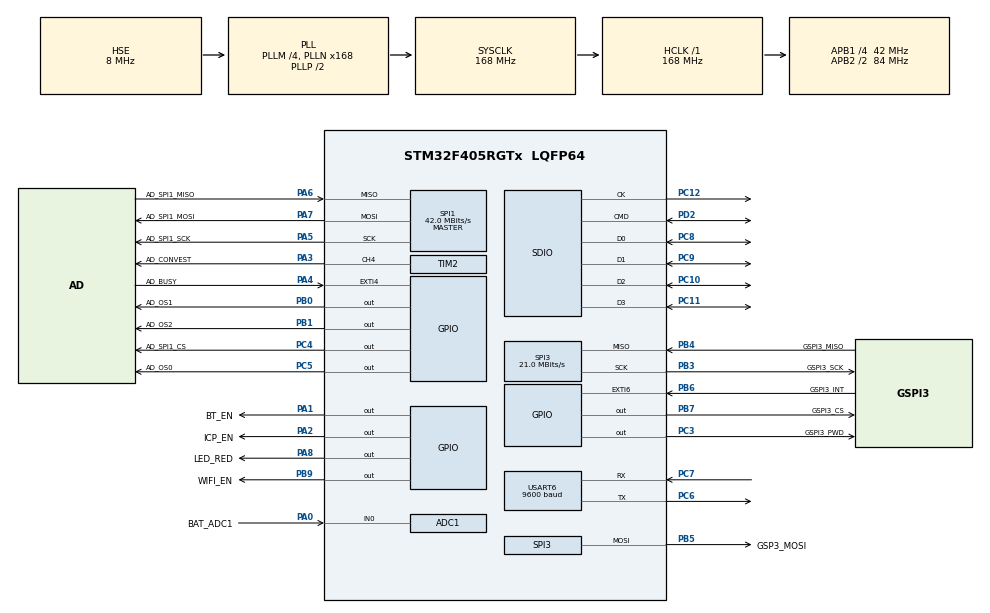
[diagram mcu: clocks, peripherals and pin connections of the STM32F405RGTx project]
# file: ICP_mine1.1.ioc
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ADC1.Channel-0\#ChannelRegularConversion=ADC_CHANNEL_0
ADC1.NbrOfConversionFlag=1
ADC1.Rank-0\#ChannelRegularConversion=1
ADC1.SamplingTime-0\#ChannelRegularConversion=ADC_SAMPLETIME_3CYCLES
ADC1.master=1
Dma.Request0=SPI1_RX
Dma.Request1=SPI1_TX
Dma.SPI1_RX.0.Direction=DMA_PERIPH_TO_MEMORY
Dma.SPI1_RX.0.FIFOMode=DMA_FIFOMODE_DISABLE
Dma.SPI1_RX.0.Instance=DMA2_Stream0
Dma.SPI1_RX.0.MemDataAlignment=DMA_MDATAALIGN_BYTE
Dma.SPI1_RX.0.MemInc=DMA_MINC_ENABLE
Dma.SPI1_RX.0.Mode=DMA_CIRCULAR
Dma.SPI1_RX.0.PeriphDataAlignment=DMA_PDATAALIGN_BYTE
Dma.SPI1_RX.0.PeriphInc=DMA_PINC_DISABLE
Dma.SPI1_RX.0.Priority=DMA_PRIORITY_HIGH
Dma.SPI1_TX.1.Direction=DMA_MEMORY_TO_PERIPH
Dma.SPI1_TX.1.FIFOMode=DMA_FIFOMODE_DISABLE
Dma.SPI1_TX.1.Instance=DMA2_Stream3
Dma.SPI1_TX.1.MemDataAlignment=DMA_MDATAALIGN_BYTE
Dma.SPI1_TX.1.MemInc=DMA_MINC_ENABLE
Dma.SPI1_TX.1.Mode=DMA_NORMAL
Dma.SPI1_TX.1.PeriphDataAlignment=DMA_PDATAALIGN_BYTE
Dma.SPI1_TX.1.PeriphInc=DMA_PINC_DISABLE
Dma.SPI1_TX.1.Priority=DMA_PRIORITY_HIGH
FATFS._CODE_PAGE=936
FATFS._USE_LFN=2
Mcu.Family=STM32F4
Mcu.Name=STM32F405RGTx
Mcu.Package=LQFP64
NVIC.DMA2_Stream0_IRQn=true\:0\:0\:false\:false\:true\:true
NVIC.DMA2_Stream3_IRQn=true\:0\:0\:false\:false\:true\:true
NVIC.EXTI4_IRQn=true\:2\:0\:true\:false\:true\:true
NVIC.EXTI9_5_IRQn=true\:0\:0\:false\:false\:true\:true
NVIC.PriorityGroup=NVIC_PRIORITYGROUP_4
NVIC.TIM8_TRG_COM_TIM14_IRQn=true\:0\:0\:false\:false\:true\:true
NVIC.TimeBase=TIM8_TRG_COM_TIM14_IRQn
NVIC.TimeBaseIP=TIM14
NVIC.USART6_IRQn=true\:1\:0\:true\:false\:true\:true
PA0-WKUP.GPIO_Label=BAT_ADC1
PA0-WKUP.Signal=ADCx_IN0
PA1.GPIO_Label=BT_EN
PA1.GPIO_PuPd=GPIO_PULLDOWN
PA1.GPIO_Speed=GPIO_SPEED_FREQ_HIGH
PA1.Signal=GPIO_Output
PA13.Mode=Serial_Wire
PA13.Signal=SYS_JTMS-SWDIO
PA14.Mode=Serial_Wire
PA14.Signal=SYS_JTCK-SWCLK
PA2.GPIO_Label=ICP_EN
PA2.GPIO_PuPd=GPIO_PULLDOWN
PA2.GPIO_Speed=GPIO_SPEED_FREQ_HIGH
PA2.Signal=GPIO_Output
PA3.GPIO_Label=AD_CONVEST
PA3.Signal=S_TIM2_CH4
PA4.GPIO_Label=AD_BUSY
PA4.Signal=GPXTI4
PA5.GPIO_Label=AD_SPI1_SCK
PA5.GPIO_PuPd=GPIO_NOPULL
PA5.Mode=Full_Duplex_Master
PA5.Signal=SPI1_SCK
PA6.GPIO_Label=AD_SPI1_MISO
PA6.GPIO_PuPd=GPIO_NOPULL
PA6.Mode=Full_Duplex_Master
PA6.Signal=SPI1_MISO
PA7.GPIO_Label=AD_SPI1_MOSI
PA7.GPIO_PuPd=GPIO_NOPULL
PA7.Mode=Full_Duplex_Master
PA7.Signal=SPI1_MOSI
PA8.GPIO_Label=LED_RED
PA8.GPIO_PuPd=GPIO_PULLUP
PA8.GPIO_Speed=GPIO_SPEED_FREQ_HIGH
PA8.Signal=GPIO_Output
PB0.GPIO_Label=AD_OS1
PB0.GPIO_PuPd=GPIO_PULLDOWN
PB0.GPIO_Speed=GPIO_SPEED_FREQ_HIGH
PB0.Signal=GPIO_Output
PB1.GPIO_Label=AD_OS2
PB1.GPIO_PuPd=GPIO_PULLDOWN
PB1.GPIO_Speed=GPIO_SPEED_FREQ_HIGH
PB1.Signal=GPIO_Output
PB3.GPIO_Label=GSPI3_SCK
PB3.GPIO_PuPd=GPIO_PULLUP
PB3.Mode=Full_Duplex_Master
PB3.Signal=SPI3_SCK
PB4.GPIO_Label=GSPI3_MISO
PB4.GPIO_PuPd=GPIO_PULLUP
PB4.Mode=Full_Duplex_Master
PB4.Signal=SPI3_MISO
PB5.GPIO_Label=GSP3_MOSI
PB5.GPIO_PuPd=GPIO_PULLUP
PB5.Mode=Full_Duplex_Master
PB5.Signal=SPI3_MOSI
PB6.GPIO_Label=GSPI3_INT
PB6.Signal=GPXTI6
PB7.GPIO_Label=GSPI3_CS
PB7.GPIO_PuPd=GPIO_PULLUP
PB7.GPIO_Speed=GPIO_SPEED_FREQ_HIGH
PB7.Signal=GPIO_Output
PB9.GPIO_Label=WIFI_EN
PB9.GPIO_PuPd=GPIO_PULLDOWN
PB9.GPIO_Speed=GPIO_SPEED_FREQ_HIGH
PB9.Signal=GPIO_Output
PC10.Mode=SD_4_bits_Wide_bus
PC10.Signal=SDIO_D2
PC11.Mode=SD_4_bits_Wide_bus
PC11.Signal=SDIO_D3
PC12.Mode=SD_4_bits_Wide_bus
PC12.Signal=SDIO_CK
PC14-OSC32_IN.Mode=LSE-External-Oscillator
PC14-OSC32_IN.Signal=RCC_OSC32_IN
PC15-OSC32_OUT.Mode=LSE-External-Oscillator
PC15-OSC32_OUT.Signal=RCC_OSC32_OUT
PC3.GPIO_Label=GSPI3_PWD
PC3.GPIO_PuPd=GPIO_PULLUP
PC3.GPIO_Speed=GPIO_SPEED_FREQ_HIGH
PC3.Signal=GPIO_Output
PC4.GPIO_Label=AD_SPI1_CS
PC4.GPIO_PuPd=GPIO_PULLUP
PC4.GPIO_Speed=GPIO_SPEED_FREQ_HIGH
PC4.Signal=GPIO_Output
PC5.GPIO_Label=AD_OS0
PC5.GPIO_PuPd=GPIO_PULLDOWN
PC5.GPIO_Speed=GPIO_SPEED_FREQ_HIGH
PC5.Signal=GPIO_Output
PC6.Mode=Asynchronous
PC6.Signal=USART6_TX
PC7.Mode=Asynchronous
PC7.Signal=USART6_RX
PC8.Mode=SD_4_bits_Wide_bus
PC8.Signal=SDIO_D0
PC9.Mode=SD_4_bits_Wide_bus
PC9.Signal=SDIO_D1
PD2.Mode=SD_4_bits_Wide_bus
PD2.Signal=SDIO_CMD
PH0-OSC_IN.Mode=HSE-External-Oscillator
PH0-OSC_IN.Signal=RCC_OSC_IN
PH1-OSC_OUT.Mode=HSE-External-Oscillator
PH1-OSC_OUT.Signal=RCC_OSC_OUT
ProjectManager.HeapSize=0x200
ProjectManager.StackSize=0x1000
ProjectManager.TargetToolchain=MDK-ARM V5
RCC.48MHZClocksFreq_Value=48000000
RCC.AHBFreq_Value=168000000
RCC.APB1CLKDivider=RCC_HCLK_DIV4
RCC.APB1Freq_Value=42000000
RCC.APB1TimFreq_Value=84000000
RCC.APB2CLKDivider=RCC_HCLK_DIV2
RCC.APB2Freq_Value=84000000
RCC.APB2TimFreq_Value=168000000
RCC.CortexFreq_Value=168000000
RCC.HCLKFreq_Value=168000000
RCC.HSE_VALUE=8000000
RCC.HSI_VALUE=16000000
RCC.PLLM=4
RCC.PLLN=168
RCC.PLLQ=7
RCC.PLLSourceVirtual=RCC_PLLSOURCE_HSE
RCC.SYSCLKFreq_VALUE=168000000
RCC.SYSCLKSource=RCC_SYSCLKSOURCE_PLLCLK
RCC.VCOOutputFreq_Value=336000000
RTC.Alarm=RTC_ALARM_A
SH.ADCx_IN0.0=ADC1_IN0,IN0
SH.S_TIM2_CH4.0=TIM2_CH4,PWM Generation4 CH4
SPI1.CLKPhase=SPI_PHASE_2EDGE
SPI1.CLKPolarity=SPI_POLARITY_HIGH
SPI1.CalculateBaudRate=42.0 MBits/s
SPI1.Direction=SPI_DIRECTION_2LINES
SPI1.Mode=SPI_MODE_MASTER
SPI1.VirtualType=VM_MASTER
SPI3.BaudRatePrescaler=SPI_BAUDRATEPRESCALER_2
SPI3.CLKPhase=SPI_PHASE_2EDGE
SPI3.CLKPolarity=SPI_POLARITY_HIGH
SPI3.CalculateBaudRate=21.0 MBits/s
SPI3.Direction=SPI_DIRECTION_2LINES
SPI3.Mode=SPI_MODE_MASTER
SPI3.VirtualType=VM_MASTER
TIM2.Channel-PWM\ Generation4\ CH4=TIM_CHANNEL_4
TIM2.Period=1200
TIM2.Prescaler=70-1
TIM2.Pulse-PWM\ Generation4\ CH4=600
USART6.BaudRate=9600
USART6.VirtualMode=VM_ASYNC
VP_FATFS_VS_SDIO.Mode=SDIO
VP_RTC_VS_RTC_Activate.Mode=RTC_Enabled
VP_RTC_VS_RTC_Alarm_A_Intern.Mode=Alarm A
VP_RTC_VS_RTC_Calendar.Mode=RTC_Calendar
VP_SYS_VS_tim14.Mode=TIM14
board=ICP_mine1.1

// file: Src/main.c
/**
  ******************************************************************************
  * File Name          : main.c
  * Description        : Main program body
  ******************************************************************************
  * This notice applies to any and all portions of this file
  * that are not between comment pairs USER CODE BEGIN and
  * USER CODE END. Other portions of this file, whether
  * inserted by the user or by software development tools
  * are owned by their respective copyright owners.
  *
  * Copyright (c) 2017 STMicroelectronics International N.V.
  * All rights reserved.
  *
  * Redistribution and use in source and binary forms, with or without
  * modification, are permitted, provided that the following conditions are met:
  *
  * 1. Redistribution of source code must retain the above copyright notice,
  *    this list of conditions and the following disclaimer.
  * 2. Redistributions in binary form must reproduce the above copyright notice,
  *    this list of conditions and the following disclaimer in the documentation
  *    and/or other materials provided with the distribution.
  * 3. Neither the name of STMicroelectronics nor the names of other
  *    contributors to this software may be used to endorse or promote products
  *    derived from this software without specific written permission.
  * 4. This software, including modifications and/or derivative works of this
  *    software, must execute solely and exclusively on microcontroller or
  *    microprocessor devices manufactured by or for STMicroelectronics.
  * 5. Redistribution and use of this software other than as permitted under
  *    this license is void and will automatically terminate your rights under
  *    this license.
  *
  * THIS SOFTWARE IS PROVIDED BY STMICROELECTRONICS AND CONTRIBUTORS "AS IS"
  * AND ANY EXPRESS, IMPLIED OR STATUTORY WARRANTIES, INCLUDING, BUT NOT
  * LIMITED TO, THE IMPLIED WARRANTIES OF MERCHANTABILITY, FITNESS FOR A
  * PARTICULAR PURPOSE AND NON-INFRINGEMENT OF THIRD PARTY INTELLECTUAL PROPERTY
  * RIGHTS ARE DISCLAIMED TO THE FULLEST EXTENT PERMITTED BY LAW. IN NO EVENT
  * SHALL STMICROELECTRONICS OR CONTRIBUTORS BE LIABLE FOR ANY DIRECT, INDIRECT,
  * INCIDENTAL, SPECIAL, EXEMPLARY, OR CONSEQUENTIAL DAMAGES (INCLUDING, BUT NOT
  * LIMITED TO, PROCUREMENT OF SUBSTITUTE GOODS OR SERVICES; LOSS OF USE, DATA,
  * OR PROFITS; OR BUSINESS INTERRUPTION) HOWEVER CAUSED AND ON ANY THEORY OF
  * LIABILITY, WHETHER IN CONTRACT, STRICT LIABILITY, OR TORT (INCLUDING
  * NEGLIGENCE OR OTHERWISE) ARISING IN ANY WAY OUT OF THE USE OF THIS SOFTWARE,
  * EVEN IF ADVISED OF THE POSSIBILITY OF SUCH DAMAGE.
  *
  ******************************************************************************
  */
#include "main.h"
#include "stm32f4xx_hal.h"
#include "adc.h"
#include "dma.h"
#include "fatfs.h"
#include "rtc.h"
#include "sdio.h"
#include "spi.h"
#include "tim.h"
#include "usart.h"
#include "gpio.h"

/* USER CODE BEGIN Includes */
#include "rw_app.h"
#include "AD7606.h"

//#include "lua.h"
//#include "lauxlib.h"
//#include "lualib.h"
#include "lua_test.h"
#include "mmcfs.h"
#include "xprintf_init.h"
/* USER CODE END Includes */

/* USER CODE BEGIN PV */
/* Private variables ---------------------------------------------------------*/

/* USER CODE END PV */

void SystemClock_Config(void);

/* USER CODE BEGIN PFP */
/* Private function prototypes -----------------------------------------------*/

/* USER CODE END PFP */

/* USER CODE BEGIN 0 */
void fat_error_test(uint8_t ret);

int platform_init(void)
{
  rw_DriverParams_t     params;
  int                   ret =0;
  char                  libVersion[20]="";
  char                  module_mac[6] ="";

  //host_platformInit();
  DPRINTF("Host platform init...success\r\n");

  //rak module driver init
  wifi_init_params(&params);
  ret =rw_sysDriverInit(&params);
  if(ret != RW_OK)
  {
    DPRINTF("RAK module platform init...failed code=%d\r\n", ret);
    while(1){xprintf("ret=%d ",ret);HAL_Delay(1000);/*HAL_GPIO_WritePin(BT_EN_GPIO_Port,BT_EN_Pin,GPIO_PIN_SET);*/};
  }
  rw_getLibVersion(libVersion);
  DPRINTF("rak wifi LibVersion:%s\r\n", libVersion);
  rw_getMacAddr(module_mac);
  DPRINTF("rak wifi module-MAC:%02X:%02X:%02X:%02X:%02X:%02X\r\n", module_mac[0],module_mac[1],module_mac[2],module_mac[3],module_mac[4],module_mac[5]);

  return RW_OK;
}

//  @ fuction:
//  @ description:
//  @ input:
//  @ output:
//  @ note: 测试电池电压
void BAT_ADC_test(void){
	  uint16_t AD_value = 0;
	  float AD_transfer = 0;
	  int value_temp[2];

		HAL_ADC_Start(&hadc1);
		HAL_ADC_PollForConversion(&hadc1,50);//等待转换完成
		if(HAL_IS_BIT_SET(HAL_ADC_GetState(&hadc1),HAL_ADC_STATE_EOC_REG)){
		AD_value = HAL_ADC_GetValue(&hadc1);
	  AD_transfer = AD_value*2*3.3/0xfff;//由于分压，需要乘上2
			//xprintf("%d ADC=%fv \r\n",AD_value,AD_transfer);//xprintf not support %f
			value_temp[0] = (int)AD_transfer;
			value_temp[1] = (int)((AD_transfer-value_temp[0])*100);
			xprintf("%d ADC=%d.%dv \r\n",AD_value,value_temp[0],value_temp[1]);

		}
		if(AD_transfer < 3.2f){
			HAL_GPIO_WritePin(BT_EN_GPIO_Port,BT_EN_Pin,GPIO_PIN_RESET);
			HAL_GPIO_WritePin(WIFI_EN_GPIO_Port,WIFI_EN_Pin,GPIO_PIN_RESET);
		 while(1){
		  HAL_GPIO_TogglePin(LED_RED_GPIO_Port,LED_RED_Pin);
		  HAL_Delay(5000);
			 //xprintf("%d ADC=%fv ",AD_value,AD_transfer);
			 xprintf("%d ADC=%d.%dv \r\n",AD_value,value_temp[0],value_temp[1]);
		 }
		}
}

void fat_test(void){
  FATFS fs;                 // Work area (file system object) for logical drive
	FIL fil;                  // file objects

	uint32_t byteswritten;                /* File write counts */
	uint32_t bytesread;                   /* File read counts */
	uint8_t wtext[] = "This is STM32 working with FatFs"; /* File write buffer */
	uint8_t rtext[100];                     /* File read buffers */
	char filename[] = "STM32cube.txt";
//	char filename[] = "S.txt";

    xprintf("\r\n ****** FatFs Example ******\r\n\r\n");

    /*##-1- Register the file system object to the FatFs module ##############*/
    retSD = f_mount(&fs, "", 0);
    if(retSD)
    {
        xprintf(" mount error : %d \r\n",retSD);
        Error_Handler();
    }
    else
        xprintf(" mount sucess!!! \r\n");

    /*##-2- Create and Open new text file objects with write access ######*/
    retSD = f_open(&fil, filename, FA_CREATE_ALWAYS | FA_WRITE);
    if(retSD)
        //xprintf(" open file error : %d\r\n",retSD);
		fat_error_test(retSD);
    else
        xprintf(" open file sucess!!! \r\n");

    /*##-3- Write data to the text files ###############################*/
    retSD = f_write(&fil, wtext, sizeof(wtext), (void *)&byteswritten);
    if(retSD)
        //xprintf(" write file error : %d\r\n",retSD);
		fat_error_test(retSD);
    else
    {
        xprintf(" write file sucess!!! \r\n");
        xprintf(" write Data : %s\r\n",wtext);
    }

    /*##-4- Close the open text files ################################*/
    retSD = f_close(&fil);
    if(retSD)
        //xprintf(" close error : %d\r\n",retSD);
		fat_error_test(retSD);
    else
        xprintf(" close sucess!!! \r\n");

    /*##-5- Open the text files object with read access ##############*/
    retSD = f_open(&fil, filename, FA_READ);
    if(retSD)
        //xprintf(" open file error : %d\r\n",retSD);
		fat_error_test(retSD);
    else
        xprintf(" open file sucess!!! \r\n");

    /*##-6- Read data from the text files ##########################*/
    retSD = f_read(&fil, rtext, sizeof(rtext), (UINT*)&bytesread);
    if(retSD)
        //xprintf(" read error!!! %d\r\n",retSD);
		fat_error_test(retSD);
    else
    {
        xprintf(" read sucess!!! \r\n");
        xprintf(" read Data : %s\r\n",rtext);
    }

    /*##-7- Close the open text files ############################*/
    retSD = f_close(&fil);
    if(retSD)
        //xprintf(" close error!!! %d\r\n",retSD);
		fat_error_test(retSD);
    else
        xprintf(" close sucess!!! \r\n");

    /*##-8- Compare read data with the expected data ############*/
    if(bytesread == byteswritten)
    {
        xprintf(" FatFs is working well!!!\r\n");
    }
}

void fat_error_test(uint8_t ret){
  switch(ret){
		case FR_OK :
			xprintf("磁盘正常\r\n");
			break;
		case FR_INVALID_DRIVE:
			xprintf("驱动器无效\r\n");
			break;
		case FR_NOT_READY:
			xprintf("磁盘驱动器无法工作\r\n");
			break;
		case FR_DISK_ERR:
			xprintf("底层磁盘IO错误\r\n");
			break;
		case FR_NO_PATH:
			xprintf("找不到路径\r\n");
			break;
		case FR_INVALID_NAME:
			xprintf("文件名无效\r\n");
			break;
		case FR_NO_FILE:
			xprintf("找不到该文件\r\n");
			break;
		case FR_EXIST:
			xprintf("文件已存在\r\n");
			break;
		default:
			xprintf("其他错误%d\r\n",ret);
			break;
	}

}

void SD_test(void){
  FILE *fp;

	mmcfs_init();
	fp = fopen( "/autorun.lua", "r" );
	if( fp == NULL )
	{
		xprintf("open error");
	}
	else{
	  xprintf("open OK");
	}
}

/* USER CODE END 0 */

int main(void)
{

  /* USER CODE BEGIN 1 */
   int  		ret = 0;
	//uint16_t AD_value = 0;

  /* USER CODE END 1 */

  /* MCU Configuration----------------------------------------------------------*/

  /* Reset of all peripherals, Initializes the Flash interface and the Systick. */
  HAL_Init();

  /* Configure the system clock */
  SystemClock_Config();

  /* Initialize all configured peripherals */
  MX_GPIO_Init();
  MX_DMA_Init();
  MX_USART6_UART_Init();
  MX_ADC1_Init();
  MX_SPI3_Init();
  MX_SDIO_SD_Init();
  MX_TIM2_Init();
  MX_FATFS_Init();
  MX_RTC_Init();
  MX_SPI1_Init();

  /* USER CODE BEGIN 2 */
//	HAL_Delay(5000);//延长5s用于连接蓝牙
//	BAT_ADC_test();

   HAL_GPIO_WritePin(BT_EN_GPIO_Port,BT_EN_Pin,GPIO_PIN_SET);
	 HAL_GPIO_WritePin(WIFI_EN_GPIO_Port,WIFI_EN_Pin,GPIO_PIN_SET);
	 HAL_GPIO_WritePin(ICP_EN_GPIO_Port,ICP_EN_Pin,GPIO_PIN_SET);
	 AD_CONVEST_PWM_Init(10);//10kHz

	 //uint8_t ss[] = "sdf";
	 x_printf_init();

	 HAL_Delay(5000);//延长5s用于连接蓝牙
	 BAT_ADC_test();//这样不打开电池开关，无法继续
	 platform_init();
	 rw_appdemo_context_init();

	 //rw_network_startSTA();
	 rw_network_startAP();//start AP
	 HAL_TIM_PWM_Start(&htim2, TIM_CHANNEL_4);
	 AD7606_Init();

	 //xprintf("s=%d",2);

	 //lua_main_test();//测试lua脚本

	 //fat_test();//测试fat
	 //do_file_script("autorun.lua");//测试lua SD卡读入
	 //SD_test();
	 	mmcfs_init();
	 do_file_script1("autorun.lua");//测试lua SD卡读入
  /* USER CODE END 2 */

  /* Infinite loop */
  while (1)
  {

  /* USER CODE BEGIN 3 */
		HAL_GPIO_TogglePin(LED_RED_GPIO_Port,LED_RED_Pin);
		//HAL_GPIO_WritePin(LED_RED_GPIO_Port,LED_RED_Pin,GPIO_PIN_SET);
		//xprintf("ok ");
//		HAL_UART_Transmit(&huart6,ss,sizeof(*ss),3);
//		DPRINTF("ddd ");
//		HAL_ADC_Start(&hadc1);
//		HAL_ADC_PollForConversion(&hadc1,50);//等待转换完成
//		if(HAL_IS_BIT_SET(HAL_ADC_GetState(&hadc1),HAL_ADC_STATE_EOC_REG)){
//		AD_value = HAL_ADC_GetValue(&hadc1);
//			xprintf("%d ADC=%fv ",AD_value,AD_value*3.3/0xfff);
//		}
		HAL_Delay(1000);

		if((ret =rw_sysDriverLoop()) != RW_OK){
       DPRINTF("rw_sysDriverLoop error =%d\r\n", ret);
			HAL_GPIO_WritePin(LED_RED_GPIO_Port,LED_RED_Pin,GPIO_PIN_SET);
    }

    if (app_demo_ctx.rw_connect_status == STATUS_OK && app_demo_ctx.rw_ipquery_status == STATUS_OK) {
			RAK_TcpServer_EventHandle();
     //RAK_TcpClient_EventHandle();
    //  RAK_UdpServer_EventHandle();
    //  RAK_UdpClient_EventHandle();
    }
		else if (app_demo_ctx.rw_connect_status == STATUS_FAIL || app_demo_ctx.rw_ipquery_status == STATUS_FAIL) {
      DPRINTF("reconnect and ipquery...\r\n");
      rw_appdemo_context_init();
      rw_sysDriverReset();
      rw_network_init(&conn, DHCP_CLIENT, NULL);
    }

  }
  /* USER CODE END 3 */

}

/** System Clock Configuration
*/
void SystemClock_Config(void)
{

  RCC_OscInitTypeDef RCC_OscInitStruct;
  RCC_ClkInitTypeDef RCC_ClkInitStruct;
  RCC_PeriphCLKInitTypeDef PeriphClkInitStruct;

    /**Configure the main internal regulator output voltage
    */
  __HAL_RCC_PWR_CLK_ENABLE();

  __HAL_PWR_VOLTAGESCALING_CONFIG(PWR_REGULATOR_VOLTAGE_SCALE1);

    /**Initializes the CPU, AHB and APB busses clocks
    */
  RCC_OscInitStruct.OscillatorType = RCC_OSCILLATORTYPE_LSI|RCC_OSCILLATORTYPE_HSE;
  RCC_OscInitStruct.HSEState = RCC_HSE_ON;
  RCC_OscInitStruct.LSIState = RCC_LSI_ON;
  RCC_OscInitStruct.PLL.PLLState = RCC_PLL_ON;
  RCC_OscInitStruct.PLL.PLLSource = RCC_PLLSOURCE_HSE;
  RCC_OscInitStruct.PLL.PLLM = 4;
  RCC_OscInitStruct.PLL.PLLN = 168;
  RCC_OscInitStruct.PLL.PLLP = RCC_PLLP_DIV2;
  RCC_OscInitStruct.PLL.PLLQ = 7;
  if (HAL_RCC_OscConfig(&RCC_OscInitStruct) != HAL_OK)
  {
    _Error_Handler(__FILE__, __LINE__);
  }

    /**Initializes the CPU, AHB and APB busses clocks
    */
  RCC_ClkInitStruct.ClockType = RCC_CLOCKTYPE_HCLK|RCC_CLOCKTYPE_SYSCLK
                              |RCC_CLOCKTYPE_PCLK1|RCC_CLOCKTYPE_PCLK2;
  RCC_ClkInitStruct.SYSCLKSource = RCC_SYSCLKSOURCE_PLLCLK;
  RCC_ClkInitStruct.AHBCLKDivider = RCC_SYSCLK_DIV1;
  RCC_ClkInitStruct.APB1CLKDivider = RCC_HCLK_DIV4;
  RCC_ClkInitStruct.APB2CLKDivider = RCC_HCLK_DIV2;

  if (HAL_RCC_ClockConfig(&RCC_ClkInitStruct, FLASH_LATENCY_5) != HAL_OK)
  {
    _Error_Handler(__FILE__, __LINE__);
  }

  PeriphClkInitStruct.PeriphClockSelection = RCC_PERIPHCLK_RTC;
  PeriphClkInitStruct.RTCClockSelection = RCC_RTCCLKSOURCE_LSI;
  if (HAL_RCCEx_PeriphCLKConfig(&PeriphClkInitStruct) != HAL_OK)
  {
    _Error_Handler(__FILE__, __LINE__);
  }

    /**Configure the Systick interrupt time
    */
  HAL_SYSTICK_Config(HAL_RCC_GetHCLKFreq()/1000);

    /**Configure the Systick
    */
  HAL_SYSTICK_CLKSourceConfig(SYSTICK_CLKSOURCE_HCLK);

  /* SysTick_IRQn interrupt configuration */
  HAL_NVIC_SetPriority(SysTick_IRQn, 0, 0);
}

void HAL_TIM_PeriodElapsedCallback(TIM_HandleTypeDef *htim)
{
  if (htim->Instance == TIM14) {
    HAL_IncTick();
  }
}

void _Error_Handler(char * file, int line)
{
  /* USER CODE BEGIN Error_Handler_Debug */
  /* User can add his own implementation to report the HAL error return state */
  while(1)
  {
		  HAL_GPIO_TogglePin(LED_RED_GPIO_Port,LED_RED_Pin);
		  HAL_Delay(10000);
  }
  /* USER CODE END Error_Handler_Debug */
}

#ifdef USE_FULL_ASSERT

/**
   * @brief Reports the name of the source file and the source line number
   * where the assert_param error has occurred.
   * @param file: pointer to the source file name
   * @param line: assert_param error line source number
   * @retval None
   */
void assert_failed(uint8_t* file, uint32_t line)
{
  /* USER CODE BEGIN 6 */
  /* User can add his own implementation to report the file name and line number,
    ex: printf("Wrong parameters value: file %s on line %d\r\n", file, line) */

	while(1){
		xprintf("Wrong parameters value: file %s on line %d\r\n", file, line);
		HAL_Delay(1000);
	}
  /* USER CODE END 6 */

}

#endif

/************************ (C) COPYRIGHT STMicroelectronics *****END OF FILE****/
